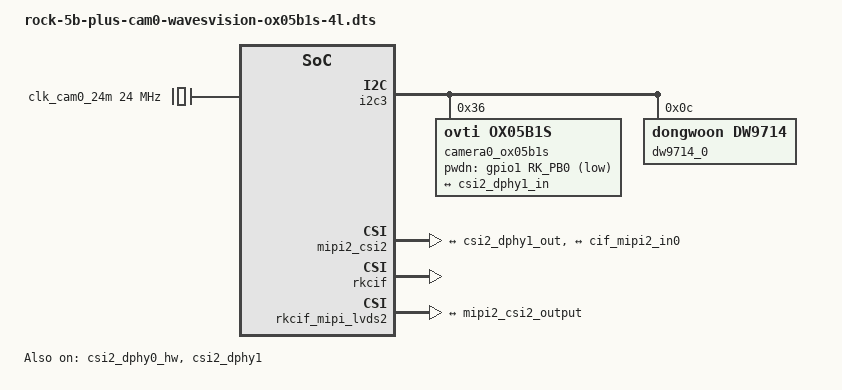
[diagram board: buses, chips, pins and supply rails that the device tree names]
/dts-v1/;
/plugin/;

#include <dt-bindings/gpio/gpio.h>
#include <dt-bindings/pinctrl/rockchip.h>

/ {
	metadata {
		title ="Enable WavesVision OX05B1S Camera on CAM0";
		compatible = "radxa,rock-5b-plus";
		category = "camera";
		exclusive = "csi2_dphy0";
		description = "Enable WavesVision OX05B1S Camera on CAM0.";
	};
};

&{/} {
	clk_cam0_24m: external-camera0-clock-24m {
		status = "okay";
		compatible = "fixed-clock";
		clock-frequency = <24000000>;
		clock-output-names = "clk_cam0_24m";
		#clock-cells = <0>;
	};
};

&i2c3 {
	status = "okay";
	#address-cells = <1>;
	#size-cells = <0>;

	camera0_ox05b1s: camera0-ox05b1s@36 {
		compatible = "ovti,ox05b1s";
		status = "okay";
		reg = <0x36>;

		clocks = <&clk_cam0_24m>;
		clock-names = "ext_cam0_clk";

		pwdn-gpios = <&gpio1 RK_PB0 GPIO_ACTIVE_LOW>;

		rockchip,camera-module-index = <0>;
		rockchip,camera-module-facing = "back";
		rockchip,camera-module-name = "WAVEVISION-OX05B1S";
		rockchip,camera-module-lens-name = "default";
		lens-focus = <&dw9714_0>;

		port {
			ox05b1s_out0: endpoint {
				remote-endpoint = <&csi2_dphy1_in>;
				data-lanes = <1 2 3 4>;
			};
		};
	};

	dw9714_0: dw9714-0@c {
		compatible = "dongwoon,dw9714";
		status = "okay";
		reg = <0x0c>;
		rockchip,camera-module-index = <0>;
		rockchip,vcm-start-current = <10>;
		rockchip,vcm-rated-current = <85>;
		rockchip,vcm-step-mode = <5>;
		rockchip,camera-module-facing = "back";
	};
};

&csi2_dphy0_hw {
	status = "okay";
};

&csi2_dphy1 {
	status = "okay";

	ports {
		#address-cells = <1>;
		#size-cells = <0>;

		port@0 {
			reg = <0>;
			#address-cells = <1>;
			#size-cells = <0>;

			csi2_dphy1_in: endpoint@2 {
				reg = <2>;
				remote-endpoint = <&ox05b1s_out0>;
				data-lanes = <1 2 3 4>;
			};
		};

		port@1 {
			reg = <1>;
			#address-cells = <1>;
			#size-cells = <0>;

			csi2_dphy1_out: endpoint@0 {
				reg = <0>;
				remote-endpoint = <&mipi2_csi2_input>;
			};
		};
	};
};

&mipi2_csi2 {
	status = "okay";

	ports {
		#address-cells = <1>;
		#size-cells = <0>;

		port@0 {
			reg = <0>;
			#address-cells = <1>;
			#size-cells = <0>;

			mipi2_csi2_input: endpoint@1 {
				reg = <1>;
				remote-endpoint = <&csi2_dphy1_out>;
			};
		};

		port@1 {
			reg = <1>;
			#address-cells = <1>;
			#size-cells = <0>;

			mipi2_csi2_output: endpoint@0 {
				reg = <0>;
				remote-endpoint = <&cif_mipi2_in0>;
			};
		};
	};
};

&rkcif {
	status = "okay";
};

&rkcif_mmu {
	status = "okay";
};

&rkcif_mipi_lvds2 {
	status = "okay";

	port {
		cif_mipi2_in0: endpoint {
			remote-endpoint = <&mipi2_csi2_output>;
		};
	};
};

&rkcif_mipi_lvds2_sditf {
	status = "disabled";

	port {
		mipi_lvds2_sditf: endpoint {
			remote-endpoint = <&isp0_vir0>;
		};
	};
};

&isp0_mmu {
	status = "disabled";
};

&rkisp0 {
	status = "disabled";
};

&rkisp0_vir0 {
	status = "disabled";

	port {
		#address-cells = <1>;
		#size-cells = <0>;

		isp0_vir0: endpoint@0 {
			reg = <0>;
			remote-endpoint = <&mipi_lvds2_sditf>;
		};
	};
};

&pinctrl {
	camera0 {
		cam0_pwdn_gpio: cam0-pwdn-gpio {
			rockchip,pins = <1 RK_PB0 RK_FUNC_GPIO &pcfg_pull_up>;
		};
	};
};

